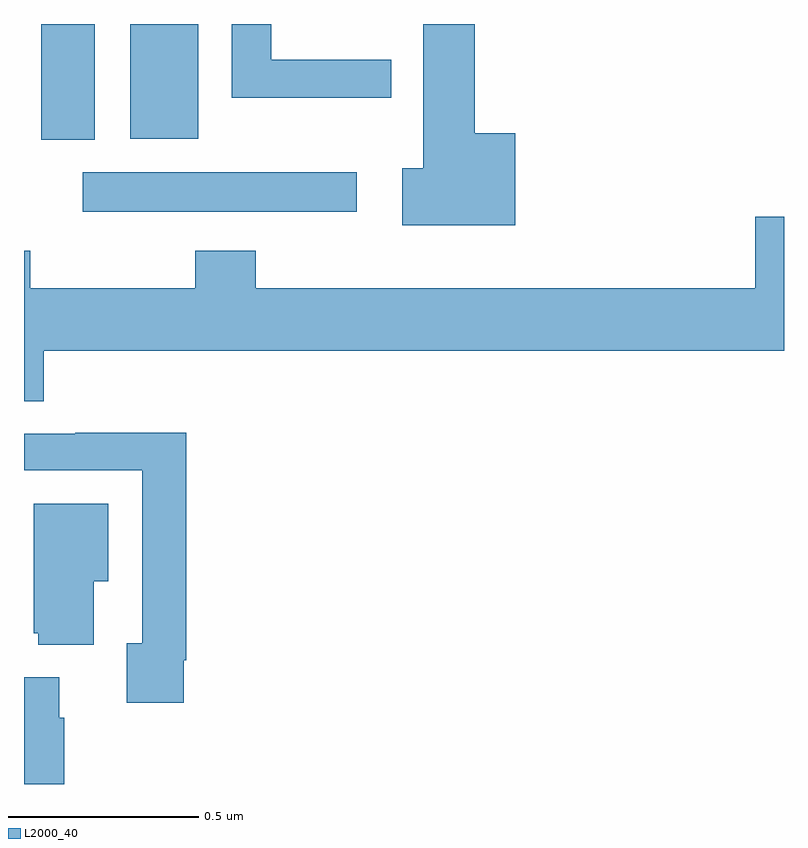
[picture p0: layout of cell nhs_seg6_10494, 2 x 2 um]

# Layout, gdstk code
import gdstk
lib = gdstk.Library(unit=1e-6, precision=1e-09)
def R(c, l, rs):  # rectangles x0, y0, x1, y1
    for r in rs: c.add(gdstk.rectangle(r[:2], r[2:], *l))
def P(c, l, *ps):  # polygons
    for p in ps: c.add(gdstk.Polygon(p, *l))
L2000_40 = (2000, 40)

nhs_seg6_10494 = lib.new_cell('nhs_seg6_10494')
R(nhs_seg6_10494, L2000_40, [(247.155,977.006,247.876,977.11), (247.046,977.195,247.186,977.5), (247.28,977.198,247.459,977.5)])
P(nhs_seg6_10494, L2000_40, [(248.293,977.212),(248.186,977.212),(248.186,977.5),(248.051,977.5),(248.051,977.12),(247.995,977.12),(247.995,976.97),(248.293,976.97)],
  [(247.966,977.406),(247.651,977.406),(247.651,977.5),(247.547,977.5),(247.547,977.306),(247.966,977.306)],
  [(247.052,976.64),(249,976.64),(249,976.993),(248.924,976.993),(248.924,976.804),(247.61,976.804),(247.61,976.903),(247.45,976.903),(247.45,976.804),(247.017,976.804),(247.017,976.903),(247,976.903),(247,976.507),(247.052,976.507)],
  [(247.42,975.826),(247.427,975.826),(247.427,976.424),(247.135,976.424),(247.135,976.422),(247,976.422),(247,976.326),(247.311,976.326),(247.311,975.87),(247.271,975.87),(247.271,975.714),(247.42,975.714)],
  [(247.183,976.034),(247.222,976.034),(247.222,976.237),(247.025,976.237),(247.025,975.897),(247.037,975.897),(247.037,975.866),(247.183,975.866)],
  [(247.106,975.674),(247.093,975.674),(247.093,975.781),(247,975.781),(247,975.5),(247.106,975.5)])

lib.write_gds('nhs_seg6_10494.gds')
